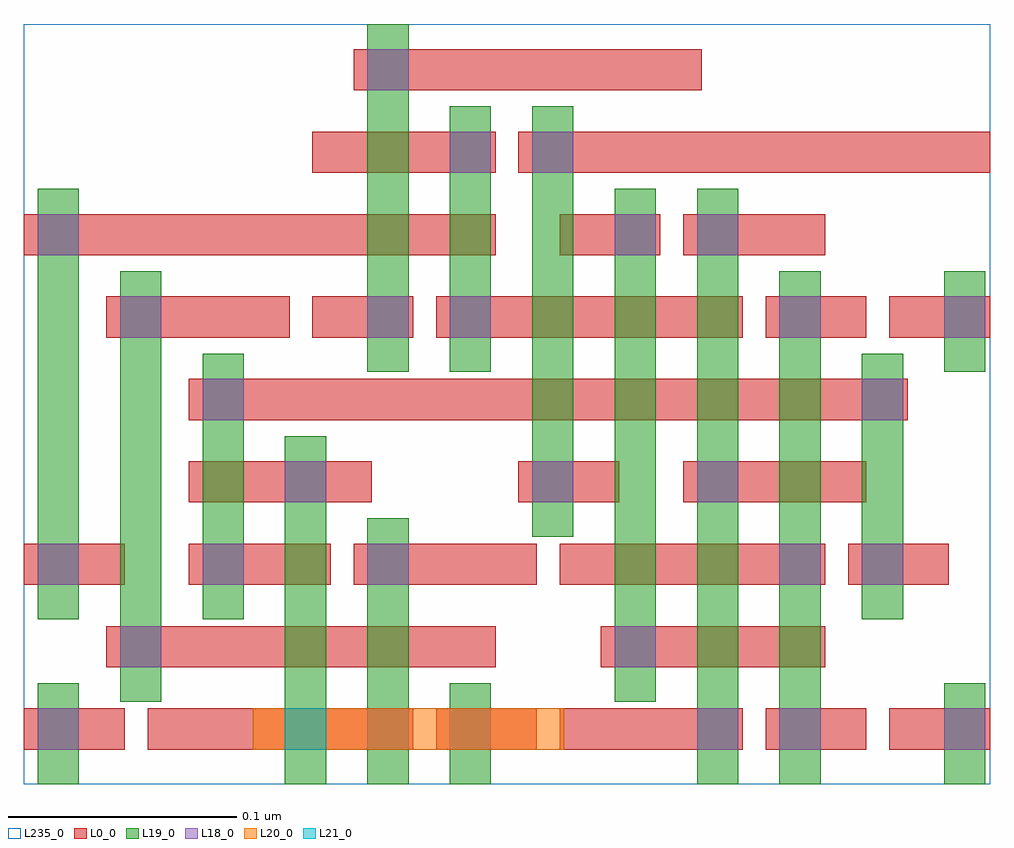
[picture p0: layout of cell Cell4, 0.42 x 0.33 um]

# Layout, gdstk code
import gdstk
lib = gdstk.Library(unit=1e-6, precision=2.5e-10)
def R(c, l, rs):  # rectangles x0, y0, x1, y1
    for r in rs: c.add(gdstk.rectangle(r[:2], r[2:], *l))
def A(c, l, x, y, w, h, nx, ny, dx, dy):  # array of equal rectangles
    R(c, l, [(x+i*dx, y+j*dy, x+i*dx+w, y+j*dy+h) for i in range(nx) for j in range(ny)])
L0_0 = (0, 0)
L18_0 = (18, 0)
L19_0 = (19, 0)
L20_0 = (20, 0)
L21_0 = (21, 0)
L235_0 = (235, 0)

cell4 = lib.new_cell('Cell4')
R(cell4, L0_0, [(0.004,-0.001,0.048,0.017), (0.058,-0.001,0.174,0.017), (0.184,-0.001,0.228,0.017), (0.238,-0.001,0.318,0.017), (0.328,-0.001,0.372,0.017), (0.382,-0.001,0.426,0.017), (0.04,0.035,0.21,0.053), (0.256,0.035,0.354,0.053), (0.004,0.071,0.048,0.089), (0.076,0.071,0.138,0.089), (0.148,0.071,0.228,0.089), (0.238,0.071,0.354,0.089), (0.364,0.071,0.408,0.089), (0.076,0.107,0.156,0.125), (0.22,0.107,0.264,0.125), (0.292,0.107,0.372,0.125), (0.076,0.143,0.39,0.161), (0.04,0.179,0.12,0.197), (0.13,0.179,0.174,0.197), (0.184,0.179,0.318,0.197), (0.328,0.179,0.372,0.197), (0.382,0.179,0.426,0.197), (0.004,0.215,0.21,0.233), (0.238,0.215,0.282,0.233), (0.292,0.215,0.354,0.233), (0.13,0.251,0.21,0.269), (0.22,0.251,0.426,0.269), (0.148,0.287,0.3,0.305)])
A(cell4, L18_0, 0.298, -0.001, 0.018, 0.018, 1, 3, 0, 0.108)
A(cell4, L18_0, 0.01, 0.071, 0.018, 0.018, 3, 1, 0.072, 0)
R(cell4, L18_0, [(0.01,-0.001,0.028,0.017), (0.154,-0.001,0.172,0.017), (0.19,-0.001,0.208,0.017), (0.334,-0.001,0.352,0.017), (0.406,-0.001,0.424,0.017), (0.046,0.035,0.064,0.053), (0.262,0.035,0.28,0.053), (0.334,0.071,0.352,0.089), (0.37,0.071,0.388,0.089), (0.118,0.107,0.136,0.125), (0.226,0.107,0.244,0.125), (0.082,0.143,0.1,0.161), (0.37,0.143,0.388,0.161), (0.046,0.179,0.064,0.197), (0.154,0.179,0.172,0.197), (0.19,0.179,0.208,0.197), (0.334,0.179,0.352,0.197), (0.406,0.179,0.424,0.197), (0.01,0.215,0.028,0.233), (0.262,0.215,0.28,0.233), (0.19,0.251,0.208,0.269), (0.226,0.251,0.244,0.269), (0.154,0.287,0.172,0.305)])
R(cell4, L19_0, [(0.01,-0.016,0.028,0.028), (0.118,-0.016,0.136,0.136), (0.154,-0.016,0.172,0.1), (0.19,-0.016,0.208,0.028), (0.298,-0.016,0.316,0.244), (0.334,-0.016,0.352,0.208), (0.406,-0.016,0.424,0.028), (0.046,0.02,0.064,0.208), (0.262,0.02,0.28,0.244), (0.01,0.056,0.028,0.244), (0.082,0.056,0.1,0.172), (0.37,0.056,0.388,0.172), (0.226,0.092,0.244,0.28), (0.154,0.164,0.172,0.316), (0.19,0.164,0.208,0.28), (0.406,0.164,0.424,0.208)])
R(cell4, L20_0, [(0.104,-0.001,0.24,0.017)])
R(cell4, L21_0, [(0.118,-0.001,0.136,0.017)])
R(cell4, L235_0, [(0.004,-0.016,0.426,0.316)])

lib.write_gds('Cell4.gds')
